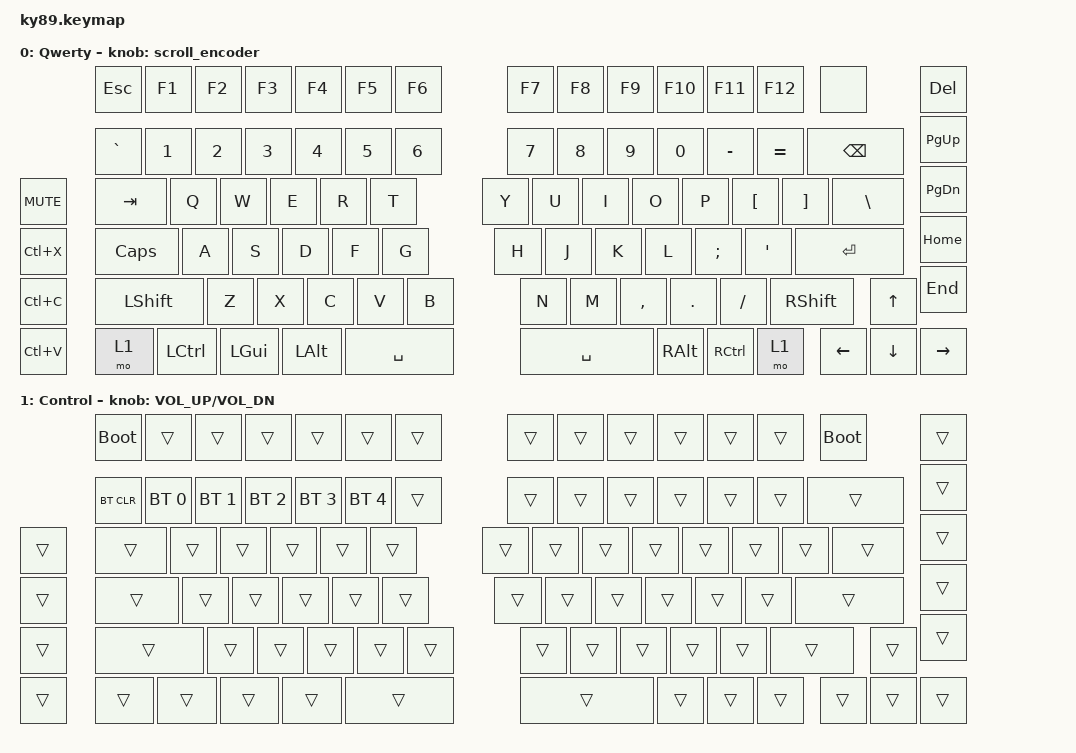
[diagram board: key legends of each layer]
#include <behaviors.dtsi>
#include <dt-bindings/zmk/bt.h>
#include <dt-bindings/zmk/keys.h>
#include <zephyr/dt-bindings/input/input-event-codes.h>
#include <dt-bindings/zmk/outputs.h>
#include <dt-bindings/zmk/pointing.h>
#include <dt-bindings/zmk/ext_power.h>
#include <input/processors.dtsi>

#define ZMK_POINTING_DEFAULT_SCRL_VAL 35    // 10

/ {
  zip_scroll_scaler: zip_scroll_scaler {
    compatible = "zmk,input-processor-scaler";
    #input-processor-cells = <2>;
    type = <INPUT_EV_REL>;
    codes = <INPUT_REL_WHEEL INPUT_REL_HWHEEL>;
    track-remainders;
  };
};

&msc_input_listener {
       input-processors = <&zip_scroll_scaler 2 1>;
};

&msc {
    acceleration-exponent = <0>;      // 0
    time-to-max-speed-ms = <0>;       // 300
    delay-ms = <0>;                   // 0
};

/ {
    scroll_encoder: scroll_encoder {
        compatible = "zmk,behavior-sensor-rotate";
        #sensor-binding-cells = <0>;
        bindings = <&msc SCRL_DOWN>, <&msc SCRL_UP>;

        tap-ms = <30>;
    };
};

/ {
    combos { compatible = "zmk,combos"; };

    keymap {
        compatible = "zmk,keymap";

        qwerty_layer {
            //  ---------------------------------------------------------------------------------
            //  |      |ESC   |F1  |F2  |F3       |F4         |F5  |F6  |    |F7  |F8         |F9       |F10 |F11  |F12   |&to 1|    |C_MUTE|
            //  |      |GRAVE |N1  |N2  |N3       |N4         |N5  |N6  |    |N7  |N8         |N9       |N0  |MINUS|EQUAL |BSPC |    |HOME  |
            //  |C_MUTE|TAB   |Q   |W   |E        |R          |T   |    |    |Y   |U          |I        |O   |P    |LBKT  |RBKT |BSLH|END   |
            //  |1     |CAPS  |A   |S   |D        |&lt 4 F    |G   |    |    |H   |J          |K        |L   |SEMI |SQT   |ENTER|    |PG_UP |
            //  |2     |LSHIFT|Z   |X   |C        |V          |B   |    |    |N   |M          |COMMA    |DOT |FSLH |RSHIFT|UP   |    |PG_DN |
            //  |3     |LCTRL |LGUI|LALT|&lt 2 DEL|&lt 1 SPACE|    |    |    |    |&lt 1 SPACE|&lt 3 INS|RALT|RCTRL|LEFT  |DOWN |    |RIGHT |

            bindings = <
&kp ESCAPE  &kp F1      &kp F2     &kp F3    &kp F4    &kp F5     &kp F6     &kp F7    &kp F8     &kp F9     &kp F10   &kp F11        &kp F12     &none      &kp DEL
&kp GRAVE   &kp N1      &kp N2     &kp N3    &kp N4    &kp N5     &kp N6     &kp N7    &kp N8     &kp N9     &kp N0    &kp MINUS      &kp EQUAL   &kp BSPC   &kp PG_UP
&kp C_MUTE  &kp TAB     &kp Q      &kp W     &kp E     &kp R      &kp T      &kp Y     &kp U      &kp I      &kp O     &kp P          &kp LBKT    &kp RBKT   &kp BSLH   &kp PG_DN
&kp LC(X)   &kp CAPS    &kp A      &kp S     &kp D     &kp F      &kp G      &kp H     &kp J      &kp K      &kp L     &kp SEMICOLON  &kp SQT     &kp ENTER  &kp HOME
&kp LC(C)   &kp LSHIFT  &kp Z      &kp X     &kp C     &kp V      &kp B      &kp N     &kp M      &kp COMMA  &kp DOT   &kp FSLH       &kp RSHIFT  &kp UP     &kp END
&kp LC(V)   &mo 1       &kp LCTRL  &kp LGUI  &kp LALT  &kp SPACE  &kp SPACE  &kp RALT  &kp RCTRL  &mo 1      &kp LEFT  &kp DOWN       &kp RIGHT
            >;

            label = "Qwerty";
            sensor-bindings = <&scroll_encoder>;
        };

        control_layer {
            //  ---------------------------------------------------------------------------------
            //  |    |&bootloader |        |        |        |          |         |    |    |    |     |     |     |    |&bootloader|&to 3|    |    |
            //  |    |BT_CLR      |BT_SEL 0|BT_SEL 1|BT_SEL 2|BT_SEL 3  |BT_SEL 4 |    |    |    |     |     |     |    |           |     |    |    |
            //  |    |EP_TOG      |        |RGB_EFF |ENTER   |          |         |    |    |    |HOME |UP   |END  |    |           |     |    |    |
            //  |    |RGB_TOG     |RGB_BRD |RGB_EFR |RGB_BRI |LS(LC(N8))|LC(ENTER)|    |    |    |LEFT |DOWN |RIGHT|    |           |     |    |    |
            //  |    |&out OUT_TOG|RGB_SPD |RGB_SPI |RGB_HUD |RGB_HUI   |         |    |    |    |PG_DN|PG_UP|     |    |           |     |    |    |
            //  |    |            |        |        |        |          |         |    |    |    |     |     |     |    |           |     |    |    |

            bindings = <
&bootloader  &trans        &trans        &trans        &trans        &trans        &trans  &trans  &trans  &trans  &trans  &trans  &trans  &bootloader  &trans
&bt BT_CLR   &bt BT_SEL 0  &bt BT_SEL 1  &bt BT_SEL 2  &bt BT_SEL 3  &bt BT_SEL 4  &trans  &trans  &trans  &trans  &trans  &trans  &trans  &trans       &trans
&trans       &trans        &trans        &trans        &trans        &trans        &trans  &trans  &trans  &trans  &trans  &trans  &trans  &trans       &trans  &trans
&trans       &trans        &trans        &trans        &trans        &trans        &trans  &trans  &trans  &trans  &trans  &trans  &trans  &trans       &trans
&trans       &trans        &trans        &trans        &trans        &trans        &trans  &trans  &trans  &trans  &trans  &trans  &trans  &trans       &trans
&trans       &trans        &trans        &trans        &trans        &trans        &trans  &trans  &trans  &trans  &trans  &trans  &trans
            >;

            label = "Control";
            sensor-bindings = <&inc_dec_kp C_VOL_UP C_VOL_DN>;
        };
    };
};
